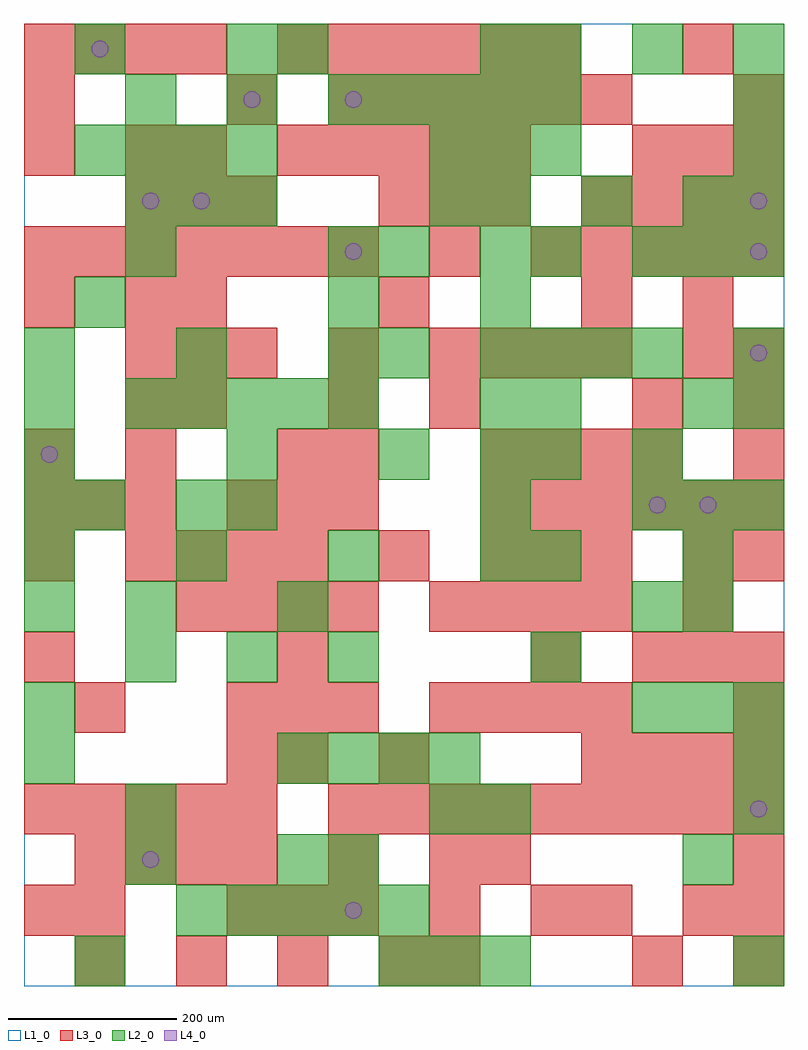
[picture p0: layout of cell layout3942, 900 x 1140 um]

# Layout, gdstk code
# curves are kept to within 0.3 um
import gdstk
lib = gdstk.Library(unit=1e-6, precision=1e-09)
def R(c, l, rs):  # rectangles x0, y0, x1, y1
    for r in rs: c.add(gdstk.rectangle(r[:2], r[2:], *l))
def A(c, l, x, y, w, h, nx, ny, dx, dy):  # array of equal rectangles
    R(c, l, [(x+i*dx, y+j*dy, x+i*dx+w, y+j*dy+h) for i in range(nx) for j in range(ny)])
def P(c, l, *ps):  # polygons
    for p in ps: c.add(gdstk.Polygon(p, *l))
L1_0 = (1, 0)
L2_0 = (2, 0)
L3_0 = (3, 0)
L4_0 = (4, 0)

layout3942 = lib.new_cell('layout3942')
R(layout3942, L1_0, [(0,0,900,1140)])
A(layout3942, L2_0, 420, 0, 60, 60, 3, 1, 60, 0)
A(layout3942, L2_0, 180, 60, 60, 60, 5, 1, 60, 0)
A(layout3942, L2_0, 300, 240, 60, 60, 4, 1, 60, 0)
A(layout3942, L2_0, 0, 300, 60, 60, 1, 3, 0, 120)
A(layout3942, L2_0, 720, 300, 60, 60, 3, 2, 60, 240)
A(layout3942, L2_0, 120, 360, 60, 60, 3, 2, 120, 660)
A(layout3942, L2_0, 600, 360, 60, 60, 1, 3, 0, 120)
A(layout3942, L2_0, 0, 480, 60, 60, 4, 1, 180, 0)
A(layout3942, L2_0, 540, 540, 60, 60, 1, 3, 0, 60)
A(layout3942, L2_0, 420, 600, 60, 60, 1, 3, 0, 120)
A(layout3942, L2_0, 120, 660, 60, 60, 5, 1, 60, 0)
A(layout3942, L2_0, 0, 720, 60, 60, 3, 1, 180, 0)
A(layout3942, L2_0, 540, 720, 60, 60, 4, 1, 60, 0)
A(layout3942, L2_0, 720, 840, 60, 60, 3, 1, 60, 0)
A(layout3942, L2_0, 120, 900, 60, 60, 3, 1, 60, 0)
A(layout3942, L2_0, 540, 900, 60, 60, 3, 1, 120, 0)
A(layout3942, L2_0, 840, 900, 60, 60, 1, 3, 0, 60)
A(layout3942, L2_0, 60, 960, 60, 60, 4, 1, 60, 0)
A(layout3942, L2_0, 480, 960, 60, 60, 3, 1, 60, 0)
A(layout3942, L2_0, 420, 1020, 60, 60, 4, 1, 60, 0)
A(layout3942, L2_0, 600, 1080, 60, 60, 3, 1, 120, 0)
R(layout3942, L2_0, [(60,0,120,60), (840,0,900,60), (120,120,180,180), (300,120,360,180), (360,120,420,180), (780,120,840,180), (120,180,180,240), (480,180,540,240), (540,180,600,240), (840,180,900,240), (0,240,60,300), (840,240,900,300), (120,420,180,480), (300,420,360,480), (720,420,780,480), (780,420,840,480), (780,480,840,540), (60,540,120,600), (180,540,240,600), (240,540,300,600), (0,600,60,660), (240,600,300,660), (720,600,780,660), (0,660,60,720), (600,660,660,720), (780,660,840,720), (840,660,900,720), (840,720,900,780), (60,780,120,840), (360,780,420,840), (540,780,600,840), (120,840,180,900), (360,840,420,900), (540,840,600,900), (600,840,660,900), (480,900,540,960), (60,1080,120,1140), (240,1080,300,1140), (300,1080,360,1140), (540,1080,600,1140)])
A(layout3942, L3_0, 60, 0, 60, 60, 4, 1, 120, 0)
A(layout3942, L3_0, 480, 0, 60, 60, 1, 3, 0, 60)
A(layout3942, L3_0, 840, 0, 60, 60, 1, 3, 0, 60)
A(layout3942, L3_0, 240, 60, 60, 60, 3, 3, 60, 240)
A(layout3942, L3_0, 60, 120, 60, 60, 4, 1, 60, 0)
A(layout3942, L3_0, 0, 180, 60, 60, 5, 1, 60, 0)
A(layout3942, L3_0, 360, 180, 60, 60, 9, 1, 60, 0)
A(layout3942, L3_0, 660, 240, 60, 60, 4, 2, 60, 660)
A(layout3942, L3_0, 480, 300, 60, 60, 4, 2, 60, 120)
A(layout3942, L3_0, 0, 360, 60, 60, 3, 1, 300, 0)
A(layout3942, L3_0, 720, 360, 60, 60, 3, 2, 60, 600)
A(layout3942, L3_0, 180, 420, 60, 60, 4, 1, 60, 0)
A(layout3942, L3_0, 120, 480, 60, 60, 4, 1, 60, 0)
A(layout3942, L3_0, 540, 480, 60, 60, 3, 1, 60, 0)
A(layout3942, L3_0, 0, 540, 60, 60, 3, 1, 60, 0)
A(layout3942, L3_0, 540, 540, 60, 60, 6, 1, 60, 0)
A(layout3942, L3_0, 0, 600, 60, 60, 1, 3, 0, 180)
A(layout3942, L3_0, 360, 600, 60, 60, 1, 3, 0, 60)
A(layout3942, L3_0, 540, 600, 60, 60, 4, 1, 60, 0)
A(layout3942, L3_0, 840, 600, 60, 60, 1, 3, 0, 60)
A(layout3942, L3_0, 120, 720, 60, 60, 3, 2, 60, 180)
A(layout3942, L3_0, 480, 720, 60, 60, 4, 1, 60, 0)
A(layout3942, L3_0, 180, 780, 60, 60, 3, 1, 240, 0)
A(layout3942, L3_0, 0, 840, 60, 60, 7, 1, 60, 0)
A(layout3942, L3_0, 600, 840, 60, 60, 5, 1, 60, 0)
A(layout3942, L3_0, 420, 900, 60, 60, 3, 1, 60, 0)
A(layout3942, L3_0, 300, 960, 60, 60, 5, 1, 60, 0)
A(layout3942, L3_0, 360, 1020, 60, 60, 6, 1, 60, 0)
A(layout3942, L3_0, 0, 1080, 60, 60, 4, 1, 60, 0)
A(layout3942, L3_0, 300, 1080, 60, 60, 6, 1, 60, 0)
R(layout3942, L3_0, [(720,0,780,60), (0,60,60,120), (60,60,120,120), (600,60,660,120), (660,60,720,120), (780,60,840,120), (360,120,420,180), (540,120,600,180), (240,240,300,300), (300,240,360,300), (420,240,480,300), (60,300,120,360), (840,300,900,360), (780,420,840,480), (0,480,60,540), (420,480,480,540), (780,480,840,540), (840,480,900,540), (120,600,180,660), (300,600,360,660), (120,660,180,720), (180,660,240,720), (480,660,540,720), (720,660,780,720), (780,720,840,780), (120,780,180,840), (780,780,840,840), (480,840,540,900), (120,960,180,1020), (180,960,240,1020), (0,1020,60,1080), (240,1020,300,1080), (840,1020,900,1080), (780,1080,840,1140)])
P(layout3942, L4_0, [(40,630),(39.239,633.827),(37.071,637.071),(33.827,639.239),(30,640),(26.173,639.239),(22.929,637.071),(20.761,633.827),(20,630),(20.761,626.173),(22.929,622.929),(26.173,620.761),(30,620),(33.827,620.761),(37.071,622.929),(39.239,626.173)],
  [(100,1110),(99.239,1113.827),(97.071,1117.071),(93.827,1119.239),(90,1120),(86.173,1119.239),(82.929,1117.071),(80.761,1113.827),(80,1110),(80.761,1106.173),(82.929,1102.929),(86.173,1100.761),(90,1100),(93.827,1100.761),(97.071,1102.929),(99.239,1106.173)],
  [(160,150),(159.239,153.827),(157.071,157.071),(153.827,159.239),(150,160),(146.173,159.239),(142.929,157.071),(140.761,153.827),(140,150),(140.761,146.173),(142.929,142.929),(146.173,140.761),(150,140),(153.827,140.761),(157.071,142.929),(159.239,146.173)],
  [(160,930),(159.239,933.827),(157.071,937.071),(153.827,939.239),(150,940),(146.173,939.239),(142.929,937.071),(140.761,933.827),(140,930),(140.761,926.173),(142.929,922.929),(146.173,920.761),(150,920),(153.827,920.761),(157.071,922.929),(159.239,926.173)],
  [(220,930),(219.239,933.827),(217.071,937.071),(213.827,939.239),(210,940),(206.173,939.239),(202.929,937.071),(200.761,933.827),(200,930),(200.761,926.173),(202.929,922.929),(206.173,920.761),(210,920),(213.827,920.761),(217.071,922.929),(219.239,926.173)],
  [(280,1050),(279.239,1053.827),(277.071,1057.071),(273.827,1059.239),(270,1060),(266.173,1059.239),(262.929,1057.071),(260.761,1053.827),(260,1050),(260.761,1046.173),(262.929,1042.929),(266.173,1040.761),(270,1040),(273.827,1040.761),(277.071,1042.929),(279.239,1046.173)],
  [(400,90),(399.239,93.827),(397.071,97.071),(393.827,99.239),(390,100),(386.173,99.239),(382.929,97.071),(380.761,93.827),(380,90),(380.761,86.173),(382.929,82.929),(386.173,80.761),(390,80),(393.827,80.761),(397.071,82.929),(399.239,86.173)],
  [(400,870),(399.239,873.827),(397.071,877.071),(393.827,879.239),(390,880),(386.173,879.239),(382.929,877.071),(380.761,873.827),(380,870),(380.761,866.173),(382.929,862.929),(386.173,860.761),(390,860),(393.827,860.761),(397.071,862.929),(399.239,866.173)],
  [(400,1050),(399.239,1053.827),(397.071,1057.071),(393.827,1059.239),(390,1060),(386.173,1059.239),(382.929,1057.071),(380.761,1053.827),(380,1050),(380.761,1046.173),(382.929,1042.929),(386.173,1040.761),(390,1040),(393.827,1040.761),(397.071,1042.929),(399.239,1046.173)],
  [(760,570),(759.239,573.827),(757.071,577.071),(753.827,579.239),(750,580),(746.173,579.239),(742.929,577.071),(740.761,573.827),(740,570),(740.761,566.173),(742.929,562.929),(746.173,560.761),(750,560),(753.827,560.761),(757.071,562.929),(759.239,566.173)],
  [(820,570),(819.239,573.827),(817.071,577.071),(813.827,579.239),(810,580),(806.173,579.239),(802.929,577.071),(800.761,573.827),(800,570),(800.761,566.173),(802.929,562.929),(806.173,560.761),(810,560),(813.827,560.761),(817.071,562.929),(819.239,566.173)],
  [(880,210),(879.239,213.827),(877.071,217.071),(873.827,219.239),(870,220),(866.173,219.239),(862.929,217.071),(860.761,213.827),(860,210),(860.761,206.173),(862.929,202.929),(866.173,200.761),(870,200),(873.827,200.761),(877.071,202.929),(879.239,206.173)],
  [(880,750),(879.239,753.827),(877.071,757.071),(873.827,759.239),(870,760),(866.173,759.239),(862.929,757.071),(860.761,753.827),(860,750),(860.761,746.173),(862.929,742.929),(866.173,740.761),(870,740),(873.827,740.761),(877.071,742.929),(879.239,746.173)],
  [(880,870),(879.239,873.827),(877.071,877.071),(873.827,879.239),(870,880),(866.173,879.239),(862.929,877.071),(860.761,873.827),(860,870),(860.761,866.173),(862.929,862.929),(866.173,860.761),(870,860),(873.827,860.761),(877.071,862.929),(879.239,866.173)],
  [(880,930),(879.239,933.827),(877.071,937.071),(873.827,939.239),(870,940),(866.173,939.239),(862.929,937.071),(860.761,933.827),(860,930),(860.761,926.173),(862.929,922.929),(866.173,920.761),(870,920),(873.827,920.761),(877.071,922.929),(879.239,926.173)])

lib.write_gds('layout3942.gds')
